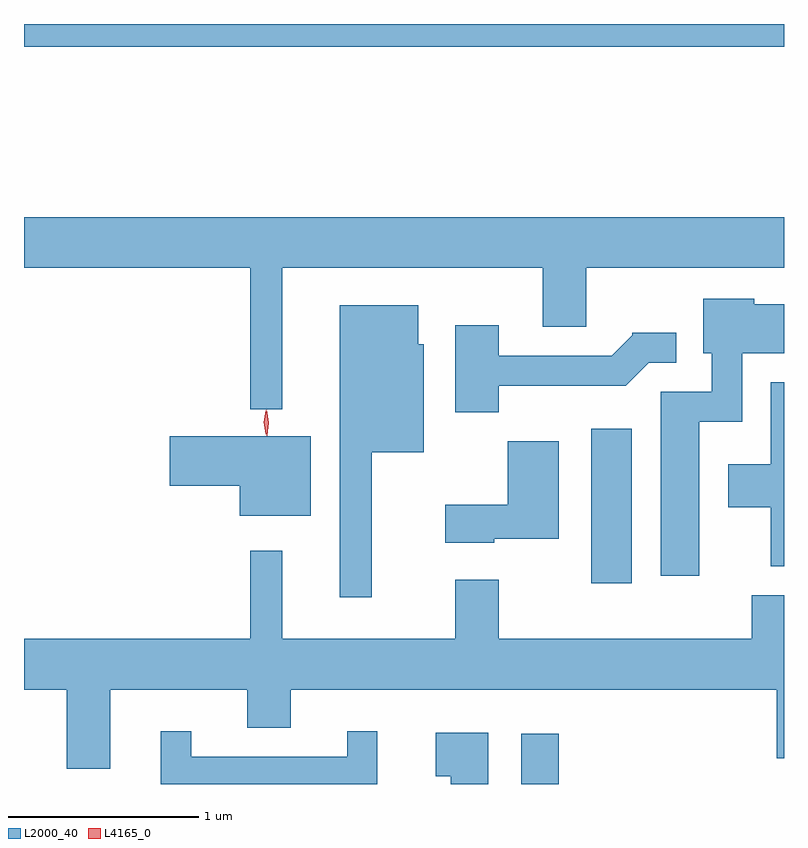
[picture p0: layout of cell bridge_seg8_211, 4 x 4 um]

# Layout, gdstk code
import gdstk
lib = gdstk.Library(unit=1e-6, precision=1e-09)
def R(c, l, rs):  # rectangles x0, y0, x1, y1
    for r in rs: c.add(gdstk.rectangle(r[:2], r[2:], *l))
def P(c, l, *ps):  # polygons
    for p in ps: c.add(gdstk.Polygon(p, *l))
L2000_40 = (2000, 40)
L4165_0 = (4165, 0)

bridge_seg8_211 = lib.new_cell('bridge_seg8_211')
R(bridge_seg8_211, L2000_40, [(1091.456,1884.76,1091.654,1885.024), (1091.826,1885.816,1092.039,1886.629), (1088.84,1888.641,1092.84,1888.76)])
P(bridge_seg8_211, L2000_40, [(1090.199,1887.476),(1091.571,1887.476),(1091.571,1887.166),(1091.799,1887.166),(1091.799,1887.476),(1092.84,1887.476),(1092.84,1887.744),(1088.84,1887.744),(1088.84,1887.476),(1090.031,1887.476),(1090.031,1886.733),(1090.199,1886.733)],
  [(1092.394,1886.666),(1092.619,1886.666),(1092.619,1887.026),(1092.84,1887.026),(1092.84,1887.284),(1092.684,1887.284),(1092.684,1887.314),(1092.416,1887.314),(1092.416,1887.026),(1092.461,1887.026),(1092.461,1886.824),(1092.191,1886.824),(1092.191,1885.856),(1092.394,1885.856)],
  [(1090.669,1886.506),(1090.944,1886.506),(1090.944,1887.074),(1090.914,1887.074),(1090.914,1887.279),(1090.501,1887.279),(1090.501,1885.743),(1090.669,1885.743)],
  [(1091.339,1886.856),(1092.007,1886.856),(1092.127,1886.976),(1092.273,1886.976),(1092.273,1887.134),(1092.04,1887.134),(1092.04,1887.121),(1091.934,1887.014),(1091.339,1887.014),(1091.339,1887.174),(1091.111,1887.174),(1091.111,1886.716),(1091.339,1886.716)],
  [(1092.84,1886.874),(1092.771,1886.874),(1092.771,1886.444),(1092.546,1886.444),(1092.546,1886.216),(1092.771,1886.216),(1092.771,1885.906),(1092.84,1885.906)],
  [(1090.349,1886.589),(1089.606,1886.589),(1089.606,1886.331),(1089.976,1886.331),(1089.976,1886.171),(1090.349,1886.171)],
  [(1091.314,1886.051),(1091.654,1886.051),(1091.654,1886.564),(1091.386,1886.564),(1091.386,1886.229),(1091.056,1886.229),(1091.056,1886.031),(1091.314,1886.031)],
  [(1089.294,1885.256),(1090.016,1885.256),(1090.016,1885.056),(1090.244,1885.056),(1090.244,1885.256),(1092.801,1885.256),(1092.801,1884.896),(1092.84,1884.896),(1092.84,1885.754),(1092.671,1885.754),(1092.671,1885.524),(1091.339,1885.524),(1091.339,1885.834),(1091.111,1885.834),(1091.111,1885.524),(1090.199,1885.524),(1090.199,1885.988),(1090.031,1885.988),(1090.031,1885.524),(1088.84,1885.524),(1088.84,1885.256),(1089.066,1885.256),(1089.066,1884.841),(1089.294,1884.841)],
  [(1090.699,1885.038),(1090.541,1885.038),(1090.541,1884.904),(1089.719,1884.904),(1089.719,1885.038),(1089.561,1885.038),(1089.561,1884.76),(1090.699,1884.76)],
  [(1091.284,1885.029),(1091.006,1885.029),(1091.006,1884.801),(1091.086,1884.801),(1091.086,1884.76),(1091.284,1884.76)])
P(bridge_seg8_211, L4165_0, [(1090.112,1886.6),(1090.112,1886.6),(1090.102,1886.664),(1090.112,1886.726),(1090.112,1886.727),(1090.113,1886.726),(1090.122,1886.664),(1090.113,1886.6)],
  [(1090.118,1886.594),(1090.118,1886.594),(1090.108,1886.662),(1090.117,1886.73),(1090.118,1886.73),(1090.118,1886.73),(1090.128,1886.662),(1090.119,1886.594)])

lib.write_gds('bridge_seg8_211.gds')
